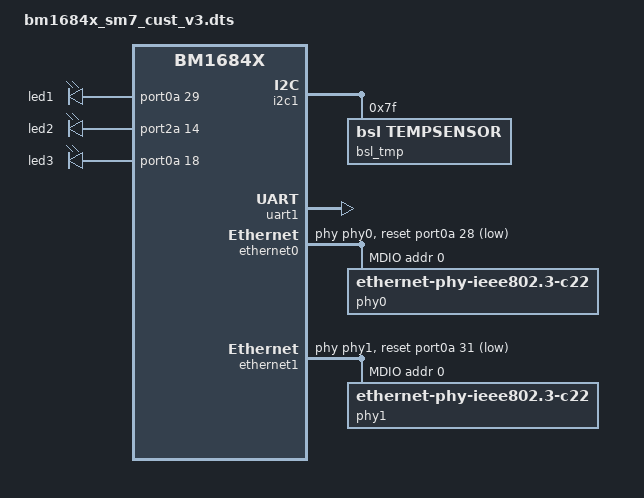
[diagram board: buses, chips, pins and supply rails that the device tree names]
#include "bm1684x.dtsi"
#include "bm1684x_mm_16g.dtsi"
#include "bm1684x_evb.dtsi"

/ {
	aliases {
		serial0 = &uart0;
		serial1 = &uart1;
		serial2 = &uart2;
	};

	/delete-node/ pka@58008000;
	/delete-node/ clp890@50018000;
	info {
		file-name = "bm1684x_sm7_cust_v3.dtb";
	};
	gpioleds: gpio-leds {
		compatible = "gpio-leds";
		pinctrl-names = "default";
		pinctrl-0 = <&fan1_release>;
		//pinctrl-0 = <&dbgi2c_release &fan1_release &jtag0_release>;
		status = "okay";

		led1 {	// bottom
			label = "led1";
			gpios = <&port0a 29 GPIO_ACTIVE_HIGH>;
			linux,default-trigger = "heartbeat";
			default-state = "on";
		};

		led2 {
			label = "led2";
			gpios = <&port2a 14 GPIO_ACTIVE_HIGH>; /* FAN1 / GPIO78 */
			//linux,default-trigger = "heartbeat";
			default-state = "off";
		};

		led3 {	// top
			label = "led3";
			gpios = <&port0a 18 GPIO_ACTIVE_HIGH>;
			//linux,default-trigger = "heartbeat";
			default-state = "off";
		};
	};
/*
 * PCIe USB tree:
 * BM1684X
 *     |----VL805(PCIE2USB)
 *             |--------VL716(USB2SATA)
 *             |--------GL3523(USBHUB)
 *                         |--------USB slot x2
 *                         |--------4G/5G
 *                         |--------WiFi
 */
	bsl_gpio: bsl-gpio {
		status = "okay";
		compatible = "bsl_gpio";
		pinctrl-names = "default";
		pinctrl-0 = <&dbgi2c_release &jtag0_release &jtag1_release &i2c2_release>;

		gps_pwr {
			gpio_num-gpio = <&port0a 26 GPIO_ACTIVE_HIGH>;
			gpio_function = <0>;	// output active
		};

		// pcie -> usb
		pcie2usb_rst {
			gpio_num-gpio = <&port0a 9 GPIO_ACTIVE_HIGH>;
			gpio_function = <5>;	// output reset
			reset_time_ms = <0 0 0>;//<0 0 1000>;
		};
		pcie_clk_en {
			gpio_num-gpio = <&port0a 22 GPIO_ACTIVE_LOW>;
			gpio_function = <0>;	// output active
		};

		// usb -> sata
		usb2sata_pwr {
			gpio_num-gpio = <&port0a 6 GPIO_ACTIVE_HIGH>;
			gpio_function = <0>;	// output active
		};
		usb2sata_rst {
			gpio_num-gpio = <&port0a 5 GPIO_ACTIVE_HIGH>;
			gpio_function = <5>;	// output reset
			reset_time_ms = <0 0 0>;//<0 0 2000>;
		};
		sata_pwr {
			gpio_num-gpio = <&port0a 7 GPIO_ACTIVE_HIGH>;
			gpio_function = <0>;	// output active
		};

		// usb hub
		hub_pwr {
			gpio_num-gpio = <&port0a 20 GPIO_ACTIVE_HIGH>;
			gpio_function = <0>;	// output active
		};
		hub_rst {
			gpio_num-gpio = <&port0a 23 GPIO_ACTIVE_HIGH>;
			gpio_function = <5>;	// output reset
			reset_time_ms = <0 0 0>;//<0 1000 3000>;
		};

		// usb slot
		// we use power ctrl as RESET
		usb_rst {
			gpio_num-gpio = <&port0a 10 GPIO_ACTIVE_LOW>;
			gpio_function = <5>;	// output reset
			reset_time_ms = <0 0 0>;//<0 4000 6000>;
		};

		// 4G/5G
		// we use power ctrl as RESET
		modem_rst {
			gpio_num-gpio = <&port0a 19 GPIO_ACTIVE_LOW>;
			gpio_function = <5>;	// output reset
			reset_time_ms = <0 0 0>;//<0 4000 6000>;
		};

		// wifi
		wlan_pwr {
			gpio_num-gpio = <&port0a 30 GPIO_ACTIVE_HIGH>;
			gpio_function = <0>;	// output active
		};
		wlan_rst {
			gpio_num-gpio = <&port2a 20 GPIO_ACTIVE_LOW>;
			gpio_function = <5>;	// output reset
			reset_time_ms = <0 0 0>;//<0 4000 6000>;
		};
	};
};
&pcie0 {
	pwr-gpio = <&port0a 11 GPIO_ACTIVE_HIGH>;
};

&tmp451 {
	status = "disabled";
};

&i2c2 {
	status = "disabled";
};

&i2c1 {
	bsl_tmp: bsl_tmp@7f {
		compatible = "bsl,tempsensor";
		reg = <0x7f>;
		#thermal-sensor-cells = <1>;
		mcu = <&bm16xxmcu>;
	};
};

&thermal_zones {
	soc {
		thermal-sensors = <&bsl_tmp 1>;
	};
	board {
		thermal-sensors = <&bsl_tmp 0>;
	};
};

&pwm{
	pinctrl-names = "default";
	pinctrl-0 = <&pwm0_acquire>;
};

&soc_pwmfan_trip1 {
	temperature = <30000>;
};

&soc_pwmfan_trip2 {
	temperature = <40000>;
};

&soc_pwmfan_trip3 {
	temperature = <50000>;
};

&soc_pwmfan_trip4 {
	temperature = <60000>;
};

&soc_tpuclk440m_trip {
	temperature = <85000>;
};

&soc_tpuclk75m_trip {
	temperature = <90000>;
};

&soc_crit_trip {
	temperature = <95000>;
};

&vpu_reserved {
	reg = <0x3 0x40000000 0x0 0x08000000>; // 128M, for VPU firmware
	no-map;
};

&ion_for_vpu {
			compatible = "vpu-region";
			reg = <0x3 0x48000000 0x0 0xb7ff0000>; // 2.875G
};

&ion_for_npu {
			compatible = "npu-region";
			reg = <0x1 0x24100000 0x0 0x96e00000>; // 2.5g
};
&clock_init {
	clock-rates = \
		<2300000000>, <950000000>, <800000000>,

		<1000000000>, <1000000000>,
		<2000000000>, <50000000>,
		<100000000>, <100000000>,
		<125000000>, <50000000>,
		<25000000>, <125000000>,
		<50000000>, <25000000>,
		<500000000>, <25000000>,
		<1000000000>, <500000000>,
		<800000000>, <100000000>,
		<250000000>, <250000000>,
		<500000000>, <500000000>,
		<50000000>, <50000000>,
		<50000000>, <50000000>,
		<50000000>, <50000000>,
		<50000000>, <50000000>,
		<100000>, <100000>, <100000>,

		<1000000001>,
		<800000000>, <800000001>,
		<2300000001>, <575000000>;
		};

&uart1 {
	status = "okay";
	pinctrl-names = "default";
	pinctrl-0 = <&uart1_acquire>;
};

&ethernet0 {
	//max-speed = <100>;
	phy-handle = <&phy0>;

	snps,reset-gpio = <&port0a 28 GPIO_ACTIVE_LOW>;
	snps,reset-active-low;
	/* Reset time is 20ms, 100ms for rtl8211f */
	snps,reset-delays-us = <0 20000 100000>;

	mdio {
		#address-cells = <0x1>;
		#size-cells = <0x0>;
		compatible = "snps,dwmac-mdio";
		phy0: phy@0 {
			compatible = "ethernet-phy-ieee802.3-c22";
			device_type = "ethernet-phy";
			reg = <0x0>;

			rx-internal-delay-ps = <150>;
			motorcomm,rx-clk-drv-microamp = <3970>;
			motorcomm,rx-data-drv-microamp = <3970>;
			led0_config = <0x0070>;
			led1_config = <0x0000>;
			led2_config = <0x2600>;
		};
	};
};

&ethernet1 {
	phy-handle = <&phy1>;

	snps,reset-gpio = <&port0a 31 GPIO_ACTIVE_LOW>;
	snps,reset-active-low;
	/* Reset time is 20ms, 100ms for rtl8211f */
	snps,reset-delays-us = <0 20000 100000>;

	//pinctrl-names = "default";
	//pinctrl-0 = <&dbgi2c_release>;

	//max-speed = <100>;

	mdio {
		#address-cells = <0x1>;
		#size-cells = <0x0>;
		compatible = "snps,dwmac-mdio";
		phy1: phy@0 {
			compatible = "ethernet-phy-ieee802.3-c22";
			device_type = "ethernet-phy";
			reg = <0x0>;

			rx-internal-delay-ps = <150>;
			motorcomm,rx-clk-drv-microamp = <3970>;
			motorcomm,rx-data-drv-microamp = <3970>;
			led0_config = <0x0070>;
			led1_config = <0x0000>;
			led2_config = <0x2600>;
		};
	};
};
